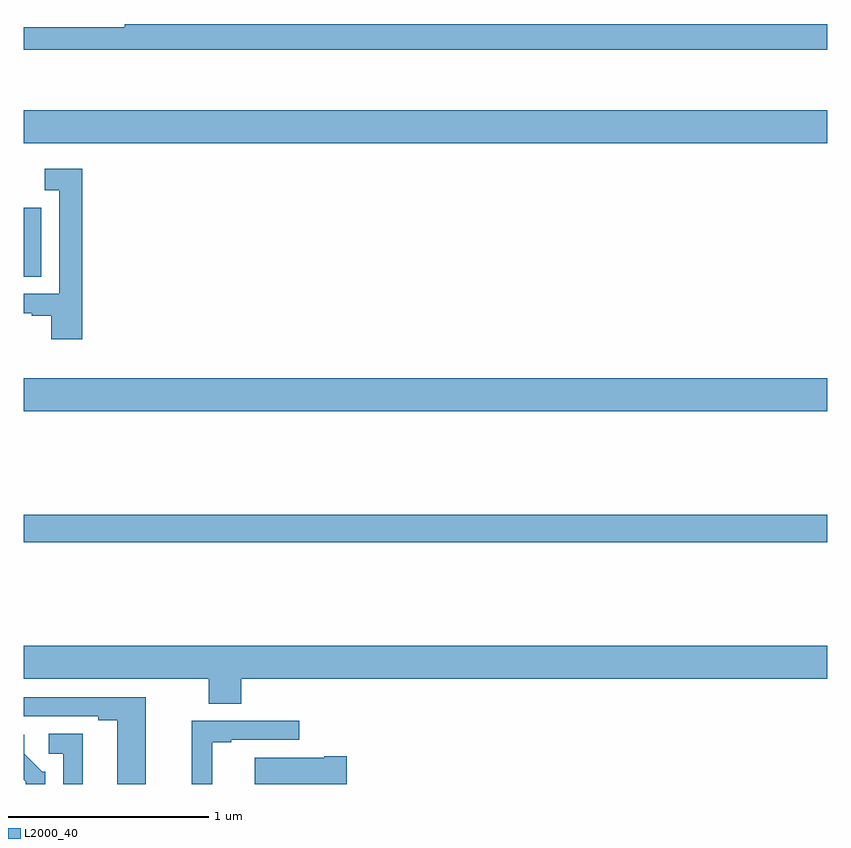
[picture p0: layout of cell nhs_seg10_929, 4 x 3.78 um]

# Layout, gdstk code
import gdstk
lib = gdstk.Library(unit=1e-6, precision=1e-09)
def R(c, l, rs):  # rectangles x0, y0, x1, y1
    for r in rs: c.add(gdstk.rectangle(r[:2], r[2:], *l))
def P(c, l, *ps):  # polygons
    for p in ps: c.add(gdstk.Polygon(p, *l))
L2000_40 = (2000, 40)

nhs_seg10_929 = lib.new_cell('nhs_seg10_929')
R(nhs_seg10_929, L2000_40, [(159,1259.704,163,1259.84), (159,1260.356,163,1260.52), (159,1261.024,159.088,1261.368), (159,1261.688,163,1261.852)])
P(nhs_seg10_929, L2000_40, [(163,1262.282),(159.503,1262.282),(159.503,1262.267),(159,1262.267),(159,1262.154),(163,1262.154)],
  [(159.293,1261.561),(159.105,1261.561),(159.105,1261.455),(159.177,1261.455),(159.177,1260.939),(159,1260.939),(159,1260.843),(159.041,1260.843),(159.041,1260.831),(159.137,1260.831),(159.137,1260.714),(159.293,1260.714)],
  [(160.082,1259.024),(163,1259.024),(163,1259.188),(159,1259.188),(159,1259.024),(159.922,1259.024),(159.922,1258.9),(160.082,1258.9)],
  [(159.607,1258.932),(159,1258.932),(159,1258.836),(159.371,1258.836),(159.371,1258.816),(159.467,1258.816),(159.467,1258.5),(159.607,1258.5)],
  [(159.938,1258.707),(160.033,1258.707),(160.033,1258.719),(160.372,1258.719),(160.372,1258.815),(159.838,1258.815),(159.838,1258.5),(159.938,1258.5)],
  [(159.295,1258.751),(159.126,1258.751),(159.126,1258.65),(159.198,1258.65),(159.198,1258.5),(159.295,1258.5)],
  [(159.108,1258.56),(159.093,1258.56),(159.003,1258.65),(159.003,1258.746),(159,1258.746),(159,1258.521),(159.011,1258.51),(159.011,1258.5),(159.108,1258.5)],
  [(160.609,1258.638),(160.496,1258.638),(160.496,1258.63),(160.151,1258.63),(160.151,1258.5),(160.609,1258.5)])

lib.write_gds('nhs_seg10_929.gds')
